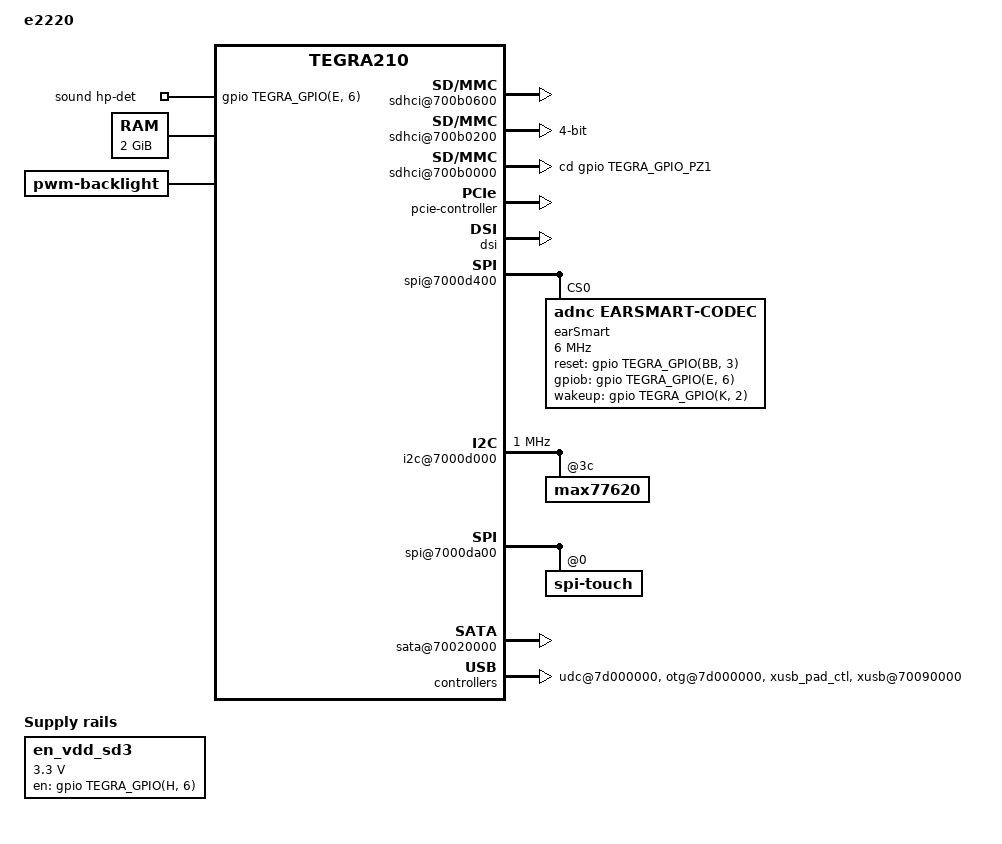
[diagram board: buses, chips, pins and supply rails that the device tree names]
/*
 * T210- DSC
 *
 * arch/arm64/boot/dts/tegra210-ers-e2220-1100-a00-00.dts
 *
 * Copyright (c) 2014, NVIDIA CORPORATION.  All rights reserved.
 *
 * This program is free software; you can redistribute it and/or modify
 * it under the terms of the GNU General Public License as published by
 * the Free Software Foundation; version 2 of the License.
 *
 * This program is distributed in the hope that it will be useful, but WITHOUT
 * ANY WARRANTY; without even the implied warranty of MERCHANTABILITY or
 * FITNESS FOR A PARTICULAR PURPOSE.  See the GNU General Public License for
 * more details.
 *
 * You should have received a copy of the GNU General Public License along
 * with this program; if not, write to the Free Software Foundation, Inc.,
 * 51 Franklin Street, Fifth Floor, Boston, MA  02110-1301, USA.
 *
 */

/dts-v1/;

/memreserve/ 0x80000000 0x00020000;

#include "tegra210-ers-common.dtsi"
#include "tegra210-platforms/tegra210-ers-extgpio-e2141-1100-a00.dtsi"
#include "tegra210-platforms/tegra210-ers-power-tree-e2174-1101-a00.dtsi"
#include "tegra210-platforms/tegra210-ers-sensor-e2160-1000-a00.dtsi"
#include "tegra210-platforms/tegra210-ers-gpio-e2220-1100-a00.dtsi"
#include "tegra210-platforms/tegra210-ers-pinmux-e2220-1100-a00.dtsi"
#include "tegra210-platforms/tegra210-comms.dtsi"
#include "tegra210-platforms/tegra210-sdhci.dtsi"
#include "panel-j-1440-810-5-8.dtsi"
#include "panel-a-wuxga-8-0.dtsi"
#include "tegra210-platforms/tegra210-ers-hdmi-e2190-1100-a00.dtsi"
#include "tegra210-platforms/tegra210-ers-keys-e2141-1100-a00.dtsi"
#include "tegra210-platforms/tegra210-ers-camera-e2249-1002-a00.dtsi"
#include "tegra210-platforms/tegra210-ers-e2220-thermal-zone.dtsi"

/ {
	model = "e2220";
	compatible = "nvidia,e2220", "nvidia,tegra210";
	nvidia,boardids = "2220:1100:00;2174:1101:00";
	nvidia,dtsfilename = __FILE__;
	nvidia,proc-boardid = "2220:1100:00";
	nvidia,pmu-boardid = "2174:1101:00";
	#address-cells = <2>;
	#size-cells = <2>;

	pmc@7000e400 {
		nvidia,invert-interrupt;
	};

	chosen {
		bootargs ="mem=1024M@2048M console=ttyS0,115200 earlyprintk=uart8250-32bit,0x70006000";
        };

	sdhci@700b0600 {
		uhs-mask = <0x60>;
		built-in;
		status = "okay";
	};

	sdhci@700b0400 {
		uhs-mask = <0x1c>;
		vddio_sdmmc-supply = <&max77620_sd3>;
		vddio_sd_slot-supply = <&en_vdd_sd3>;
		status = "disabled";
	};

	sdhci@700b0200 {
		uhs-mask = <0x1C>;
		bus-width = <4>;
		status = "okay";
	};

	sdhci@700b0000 {
		uhs-mask = <0x1c>;
		cd-gpios = <&gpio TEGRA_GPIO_PZ1 0>;
		status = "okay";
	};

	pcie-controller {
		nvidia,wake-gpio = <&gpio TEGRA_GPIO(A, 2) 0>;
		nvidia,lane-map = <0x14>;
		dvdd-pex-pll-supply = <&max77620_ldo1>;
		l0-dvddio-pex-supply = <&max77620_ldo1>;
		l1-dvddio-pex-supply = <&max77620_ldo1>;
		l2-dvddio-pex-supply = <&max77620_ldo1>;
		l3-dvddio-pex-supply = <&max77620_ldo1>;
		l4-dvddio-pex-supply = <&max77620_ldo1>;
		l5-dvddio-pex-supply = <&max77620_ldo1>;
		l6-dvddio-pex-supply = <&max77620_ldo1>;
		hvdd-pex-pll-e-supply = <&max77620_sd3>;
		l0-hvddio-pex-supply = <&max77620_sd3>;
		l1-hvddio-pex-supply = <&max77620_sd3>;
		l2-hvddio-pex-supply = <&max77620_sd3>;
		l3-hvddio-pex-supply = <&max77620_sd3>;
		l4-hvddio-pex-supply = <&max77620_sd3>;
		l5-hvddio-pex-supply = <&max77620_sd3>;
		l6-hvddio-pex-supply = <&max77620_sd3>;
		vddio-pex-ctl-supply = <&max77620_sd3>;
		status = "okay";
		pci@1,0 {
			status = "okay";
		};

		pci@2,0 {
			status = "okay";
		};
	};

	host1x {
		/* tegradc.0 */
		dc@54200000 {
			status = "okay";
			nvidia,dc-flags = <TEGRA_DC_FLAG_ENABLED>;
			nvidia,emc-clk-rate = <204000000>;
			nvidia,cmu-enable = <1>;
			nvidia,low-v-win = <0x2>;
			nvidia,fb-bpp = <32>; /* bits per pixel */
			nvidia,fb-flags = <TEGRA_FB_FLIP_ON_PROBE>;
		};
		/* tegradc.1 */
		dc@54240000 {
			status = "okay";
			nvidia,dc-flags = <TEGRA_DC_FLAG_ENABLED>;
			nvidia,emc-clk-rate = <300000000>;
			nvidia,fb-bpp = <32>; /* bits per pixel */
			nvidia,fb-flags = <TEGRA_FB_FLIP_ON_PROBE>;
		};
		dsi {
			nvidia,dsi-controller-vs = <DSI_VS_1>;
			status = "okay";
			panel-j-1440-810-5-8 {
				nvidia,dsi-dpd-pads = <DSIC_DPD_EN DSID_DPD_EN>;
				nvidia,panel-rst-gpio = <&gpio TEGRA_GPIO(V, 2) 0>; /* PV2 */
				nvidia,panel-bl-pwm-gpio = <&gpio TEGRA_GPIO(V, 0) 0>; /* PV0 */
				nvidia,panel-en-gpio = <&gpio TEGRA_GPIO(V, 1) 0>; /* PV1 */
			};
			panel-a-wuxga-8-0 {
				nvidia,dsi-dpd-pads = <DSIC_DPD_EN DSID_DPD_EN>;
				nvidia,panel-rst-gpio = <&gpio TEGRA_GPIO(V, 2) 0>; /* PV2 */
				nvidia,panel-bl-pwm-gpio = <&gpio TEGRA_GPIO(V, 0) 0>; /* PV0 */
				nvidia,panel-en-gpio = <&gpio TEGRA_GPIO(V, 1) 0>; /* PV1 */
			};
		};
		vii2c {
			avdd_dsi_csi-supply = <&max77620_gpio7>;
		};
	};


	spi@7000d400 {
		status = "okay";
		earSmart: earSmart-codec@0 {
			compatible = "adnc,earSmart-codec";
			reg = <0>;
			spi-max-frequency = <6000000>;
			spi-cpha;

			adnc,reset-gpio = <&gpio TEGRA_GPIO(BB, 3) GPIO_ACTIVE_HIGH>;
			adnc,gpiob-gpio = <&gpio TEGRA_GPIO(E, 6) GPIO_ACTIVE_HIGH>;
			adnc,wakeup-gpio = <&gpio TEGRA_GPIO(K, 2) GPIO_ACTIVE_HIGH>;

			adnc,int-gpio = <(-1)>;
			adnc,gpioa-gpio = <(-1)>;
			adnc,enable_hs_uart_intf = <0>;
			adnc,ext_clk_rate = <0>;
			adnc,debounce_timer = <3>;
			adnc,plug_det_enabled = <1>;
			adnc,mic_det_enabled = <1>;

			adnc,gpio_b_irq_type = <4>;
			adnc,cmd_comp_mode = <0>;

			/* Button Control 1 */
			adnc,btn_press_settling_time = <4>;
			adnc,btn_press_polling_rate = <1>;
			adnc,btn_press_det_act = <1>;

			/* Button Control 2 */
			adnc,double_btn_timer = <(-1)>;
			adnc,mic_det_settling_timer = <(-1)>;

			/* Button Control 3 */
			adnc,long_btn_timer = <(-1)>;
			adnc,adc_btn_mute = <(-1)>;

			/* Button Control 4 */
			adnc,valid_levels = <31>;
			adnc,impd_det_timer = <0>;
		};
	};

	i2c@7000d000 {
		max77620@3c {
			watchdog {
				status = "okay";
			};
		};
	};

	adma@702e2000  {
		interrupts = <0 24 0x04
			      0 25 0x04
			      0 26 0x04
			      0 27 0x04
			      0 28 0x04
			      0 29 0x04
			      0 30 0x04
			      0 31 0x04
			      0 32 0x04
			      0 33 0x04>;
		dma-channels = <10>;
		status = "okay";
	};

	ahub {
		i2s@702d1000 {
			pinctrl-names = "dap_active", "dap_inactive";
			pinctrl-0 = <>;
			pinctrl-1 = <>;
			regulator-supplies = "vdd-1v8-audio-hv", "vdd-1v8-audio-hv-bias";
			vdd-1v8-audio-hv-supply = <&max77620_sd3>;
			vdd-1v8-audio-hv-bias-supply = <&max77620_sd3>;
		};

		i2s@702d1300 {
			pinctrl-names = "dap_active", "dap_inactive";
			pinctrl-0 = <>;
			pinctrl-1 = <>;
			regulator-supplies = "vddio-dmic";
			vddio-dmic-supply = <&max77620_sd3>;
		};
	};

	sound {
		compatible = "nvidia,tegra-audio-t210ref-mobile-es755";
		nvidia,model = "tegra-snd-t210ref-mobile-es755";
		nvidia,hp-det-gpios = <&gpio TEGRA_GPIO(E, 6) GPIO_ACTIVE_HIGH>;
		nvidia,num-codec-link = <2>;

		nvidia,audio-routing =
			"y Headphone", 	"y OUT",
			"y IN",		"y Mic";

		nvidia,xbar = <&tegra_axbar>;

		nvidia,dai-link-1 {
			cpu-dai = <&tegra_i2s1>;
			codec-dai = <&earSmart>;
			cpu-dai-name = "I2S1";
			codec-dai-name = "earSmart-porta";
			format = "i2s";
			bitclock-slave;
			frame-slave;
			bit-format = "s16_le";
			bclk_ratio = <0>;
			srate = <48000>;
			num-channel = <2>;
			name-prefix = "x";
		};
		nvidia,dai-link-2 {
			cpu-dai = <&tegra_i2s3>;
			codec-dai = <&spdif_dit1>;
			cpu-dai-name = "I2S3";
			codec-dai-name = "dit-hifi";
			format = "dsp_a";
			bitclock-slave;
			frame-slave;
			bit-format = "s32_le";
			bclk_ratio = <0>;
			srate = <8000>;
			num-channel = <2>;
			name-prefix = "y";
		};
	};
	spi@7000da00 {
		status = "okay";
		spi-max-frequency = <25000000>;
		spi-touch@0 {
			platform-id = <RM_PLATFORM_L005>;
		};
	};

	memory@80000000 {
		device_type = "memory";
		reg = < 0x0 0x80000000 0x0 0x80000000>;
	};

        sata@70020000 {
                status = "okay";
		nvidia,pexp-gpio = <&pca9539_76 11 0>, <&pca9539_76 12 0>;
                nvidia,enable-sata-port;
                hvdd_sata-supply = <&max77620_sd3>;
                vddio_pex_sata-supply = <&max77620_sd3>;
                avdd_sata-supply = <&max77620_ldo8>;
                vdd_sata-supply = <&max77620_ldo8>;
                avdd_sata_pll-supply = <&max77620_ldo8>;
        };
	regulators {
		en_vdd_sd3: regulator@12 {
			compatible = "regulator-fixed-sync";
			reg = <12>;
			regulator-name = "en-vdd-sd3";
			regulator-min-microvolt = <3300000>;
			regulator-max-microvolt = <3300000>;
			gpio = <&gpio TEGRA_GPIO(H, 6) 0>;
			enable-active-high;
		};
	};

	backlight {
		compatible = "pwm-backlight";
		status = "okay";
	};

	camera-pcl {
		profiles {
			imx214@6_001a {
				use_of_node = "yes";
				vana-supply = <&max77620_ldo3>;
				vdig-supply = <&vdd_sys_boost>;
				vif-supply = <&en_vdd_cam>;
				af-gpios = <&gpio TEGRA_GPIO(S, 5) 0>;
				reset-gpios = <&gpio TEGRA_GPIO(S, 4) 0>;
				cam1-gpios = <&gpio TEGRA_GPIO(S, 7) 0>;
			};
			dw9714@6_000c {
				use_of_node = "yes";
				vdd-supply = <&max77620_ldo3>;
				vdd_i2c-supply = <&en_vdd_cam>;
			};
			as3648@6_0030 {
				use_of_node = "yes";
				vin-supply = <&vdd_sys_boost>;
				vi2c-supply = <&en_vdd_cam>;
			};
			ov5693@6_0036 {
				use_of_node = "yes";
				vana-supply = <&max77620_ldo3>;
				vif-supply = <&en_vdd_cam>;
				reset-gpios = <&gpio TEGRA_GPIO(S, 4) 0>;
				cam2-gpios = <&gpio TEGRA_GPIO(T, 0) 0>;
			};
		};
	};

        udc@7d000000 {
                nvidia,port-otg;
                nvidia,charging-supported;
                nvidia,enable-pmu-vbus-detection;
                nvidia,id-detection-type = <1>;
                extcon-cables = <&bq2419x 0>;
                extcon-cable-names = "vbus";
                #extcon-cells = <1>;
                status = "okay";
        };

        otg@7d000000 {
                nvidia,enable-pmu-vbus-detection;
                nvidia,id-detection-type = <1>;
                extcon-cables = <&bq2419x 0 &id_gpio_extcon 0>;
                extcon-cable-names = "vbus", "id";
                #extcon-cells = <1>;
                status = "okay";
        };

	thermal-zones {
		PMIC-Die {
			thermal-sensors = <&max77620>;
		};
	};

	/* Put common control config here */
	xusb_pad_ctl: padctl@0 {
		nvidia,ss_portmap = <0x2130>;
		nvidia,lane_owner = <0x4056>; /* Use 0xF to disable lane assign */
		status = "okay";
	};

	xusb@70090000 {
		/* nvidia,uses_external_pmic;
		nvidia,gpio_controls_muxed_ss_lanes; */
		nvidia,gpio_ss1_sata = <0>;
		nvidia,ulpicap = <0>; /* No ulpi support. can we remove */
		nvidia,portmap = <0x0e0e>;
		nvidia,common_padctl = <&xusb_pad_ctl>;
		status = "okay";
	};

	xudc@700d0000 {
		extcon-cables = <&bq2419x 0 &id_gpio_extcon 0>;
		extcon-cable-names = "vbus", "id";
		#extcon-cells = <1>;
		nvidia,common_padctl = <&xusb_pad_ctl>;
		status = "disabled";
	};

	gpio-keys {
		home {
			status = "disabled";
		};
	};

	i2c@7000d000 {
		clock-frequency = <1000000>;
	};
};
